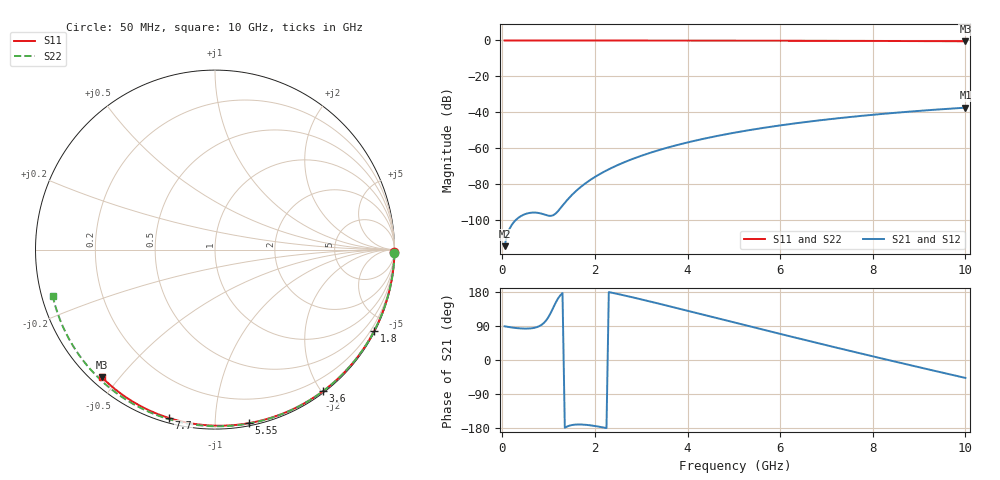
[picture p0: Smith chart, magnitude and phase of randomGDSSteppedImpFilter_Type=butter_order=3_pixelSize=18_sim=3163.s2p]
! freq	dB(S11)	phase(S11)	dB(S12)	phase(S12)
!  dB(S21)	phase(S21)	dB(S22)	phase(S22)
!S-par simulation data
#  GHz  S  DB  R 50
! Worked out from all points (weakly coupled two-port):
!   200 points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, 50 MHz to 10 GHz, reference 50 ohm
!   highest |S21| = -37.51 dB at 10 GHz (marker M1); lowest = -114.8 dB at 50 MHz (marker M2)
!   lowest |S11| = -0.4 dB at 10 GHz (marker M3), VSWR 39.10, Z = 1.54 - j22.4 ohm
!   |S11| at or under -10 dB: nowhere
!   |S22| runs from -0.5 to 0.0 dB; largest |S21 - S12| = 0
!   S11 on the Smith chart (normalised r, x): 50 MHz: open; 1.8 GHz: 0.04, -4.17; 3.6 GHz: 0.02, -2.01; 5.55 GHz: 0.02, -1.22; 7.7 GHz: 0.02, -0.76; 10 GHz: 0.03, -0.45
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0.05  -0.00 -0.8  -114.80 88.9  -114.80 88.9  -0.00 -1.0
0.45  -0.01 -6.8  -97.36 83.0  -97.36 83.0  -0.01 -8.6
0.85  -0.02 -12.9  -96.67 93.0  -96.67 93.0  -0.02 -16.2
1.3  -0.02 -19.6  -92.19 176.7  -92.19 176.7  -0.03 -24.7
1.75  -0.03 -26.3  -80.61 -170.5  -80.61 -170.5  -0.04 -33.1
1.8  -0.03 -27.0  -79.64 -171.0  -79.64 -171.0  -0.04 -34.0
1.95  -0.04 -29.2  -76.99 -173.2  -76.99 -173.2  -0.05 -36.7
2.1  -0.04 -31.4  -74.64 -176.1  -74.64 -176.1  -0.05 -39.5
2.3  -0.04 -34.3  -71.88 179.2  -71.88 179.2  -0.05 -43.1
2.5  -0.05 -37.2  -69.45 174.1  -69.45 174.1  -0.06 -46.7
2.9  -0.06 -42.9  -65.29 162.9  -65.29 162.9  -0.07 -53.8
3.4  -0.07 -50.0  -61.05 148.1  -61.05 148.1  -0.08 -62.5
3.6  -0.07 -52.8  -59.57 142.1  -59.57 142.1  -0.09 -66.0
4.3  -0.09 -62.4  -55.12 120.8  -55.12 120.8  -0.11 -77.7
5.05  -0.11 -72.4  -51.29 97.8  -51.29 97.8  -0.14 -89.9
5.55  -0.13 -78.8  -49.13 82.6  -49.13 82.6  -0.16 -97.8
6.1  -0.15 -85.8  -47.04 65.9  -47.04 65.9  -0.19 -106.2
6.7  -0.18 -93.2  -45.04 47.9  -45.04 47.9  -0.22 -115.3
7.7  -0.24 -105.3  -42.21 18.4  -42.21 18.4  -0.29 -130.1
8.35  -0.29 -112.9  -40.66 -0.5  -40.66 -0.5  -0.35 -139.6
9.2  -0.36 -122.6  -38.91 -24.8  -38.91 -24.8  -0.44 -152.0
10  -0.44 -131.7  -37.51 -47.3  -37.51 -47.3  -0.53 -163.9
